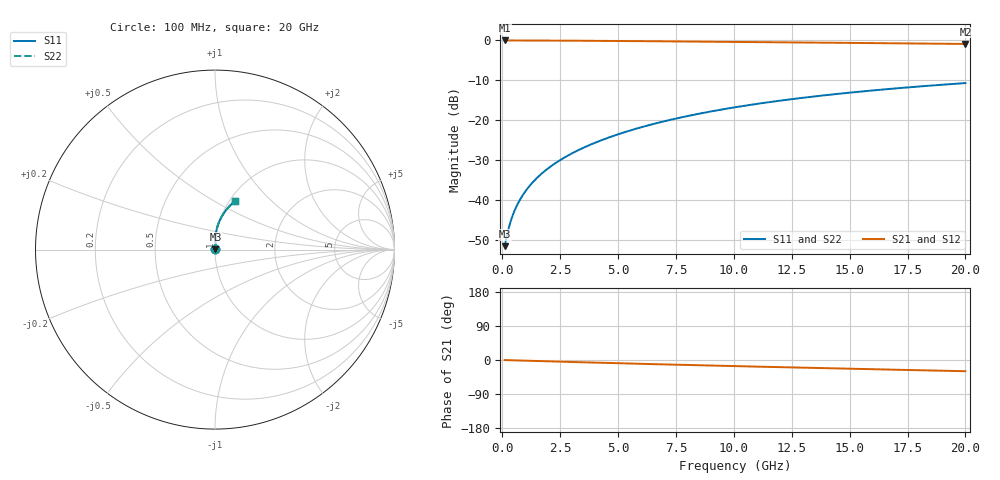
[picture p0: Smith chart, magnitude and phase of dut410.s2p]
! Touchstone file exported from HFSS 2024.1.0
!  File:  C:/UserFiles/LocalFiles/RDL_TSV_Batchsim/temp_RDL_bottom_410_1779683315.aedt
!  Generated:  12:31:16 PM May 25, 2026
!  Design:  RDL_bottom
!  Project:  temp_RDL_bottom_410_1779683315
!  Setup:  Setup1
!  Solution:  Sweep
! Variables:
!  dtsv = 10.80580581um
!  hbump = 3um
!  htsv = 73.57um
!  ldown = 382.91um
!  lrdl = 100um
!  p = 40
!  p1 = 55.82um
!  rhole = 1um
!  t = 450um
!  tdown = 2.66um
!  trdl = 3.915915916um
!  wdown = 25.97um
!  wrdl = 20um
# GHz S MA R 50.000000
! Terminal data exported
! Port[1] = RDL1_T1
! Port[2] = RDL1_T2
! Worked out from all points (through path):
!   200 points, 100 MHz to 20 GHz, reference 50 ohm
!   highest |S21| = -0.02 dB at 100 MHz (marker M1); lowest = -0.9 dB at 20 GHz (marker M2)
!   group delay of S21, straight-line fit = 4.06 ps
!   lowest |S11| = -51.5 dB at 100 MHz (marker M3), VSWR 1.01, Z = 50.2 + j0.14 ohm
!   |S11| at or under -10 dB: start of sweep to end of sweep
!   |S22| runs from -51.5 to -10.7 dB; largest |S21 - S12| = 4.1e-15
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0.1  0.002667 31.4  0.9977 -0.2  0.9977 -0.2  0.002667 31.4
! Gamma 0 0 0 0
! Port Impedance 50 0 50 0
0.2  0.003619 49.4  0.9976 -0.4  0.9976 -0.4  0.003619 49.4
0.3  0.00474 58.8  0.9975 -0.6  0.9975 -0.6  0.00474 58.8
0.4  0.005901 64.4  0.9973 -0.7  0.9973 -0.7  0.005901 64.4
0.5  0.007068 68.2  0.9972 -0.9  0.9972 -0.9  0.007068 68.2
0.6  0.008238 71.0  0.997 -1.1  0.997 -1.1  0.008238 71.0
0.8  0.01059 75.0  0.9967 -1.4  0.9967 -1.4  0.01059 75.0
1.1  0.01418 78.9  0.9963 -2.0  0.9963 -2.0  0.01418 78.9
1.3  0.01661 80.6  0.9959 -2.3  0.9959 -2.3  0.01661 80.6
1.6  0.02032 82.6  0.9953 -2.8  0.9953 -2.8  0.02032 82.6
2.1  0.02664 84.7  0.9941 -3.7  0.9941 -3.7  0.02664 84.7
2.7  0.03447 86.3  0.9923 -4.7  0.9923 -4.7  0.03447 86.3
3.5  0.04533 87.4  0.9895 -6.1  0.9895 -6.1  0.04532 87.4
4.2  0.0552 87.8  0.9866 -7.2  0.9866 -7.2  0.05519 87.8
5  0.06686 87.8  0.9829 -8.5  0.9829 -8.5  0.06686 87.8
6.8  0.09429 86.7  0.9739 -11.3  0.9739 -11.3  0.09428 86.7
8.4  0.1195 84.9  0.9655 -13.7  0.9655 -13.7  0.1195 84.9
10.1  0.1464 82.5  0.9564 -16.2  0.9564 -16.2  0.1464 82.5
11.7  0.1716 80.1  0.9478 -18.5  0.9478 -18.5  0.1716 80.1
13.4  0.1978 77.5  0.9387 -20.8  0.9387 -20.8  0.1978 77.5
16.7  0.2467 72.4  0.9207 -25.3  0.9207 -25.3  0.2467 72.4
20  0.2923 67.6  0.9024 -29.6  0.9024 -29.6  0.2923 67.6
